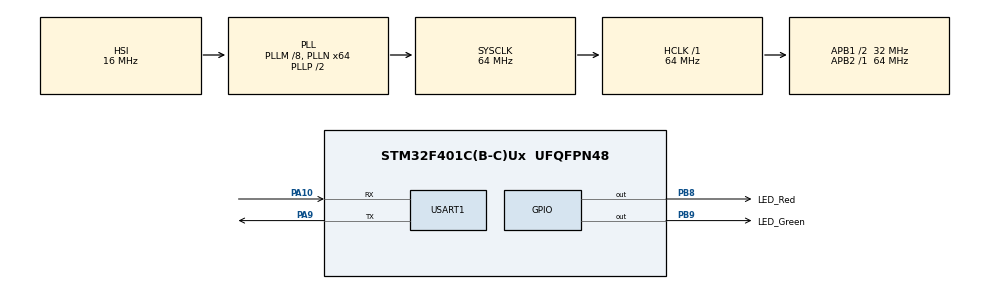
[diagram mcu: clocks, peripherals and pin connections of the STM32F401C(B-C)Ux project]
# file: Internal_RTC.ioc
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Mcu.Family=STM32F4
Mcu.Name=STM32F401C(B-C)Ux
Mcu.Package=UFQFPN48
NVIC.PriorityGroup=NVIC_PRIORITYGROUP_4
PA10.Mode=Asynchronous
PA10.Signal=USART1_RX
PA13.Mode=Serial_Wire
PA13.Signal=SYS_JTMS-SWDIO
PA14.Mode=Serial_Wire
PA14.Signal=SYS_JTCK-SWCLK
PA9.Mode=Asynchronous
PA9.Signal=USART1_TX
PB8.GPIO_Label=LED_Red
PB8.Signal=GPIO_Output
PB9.GPIO_Label=LED_Green
PB9.Signal=GPIO_Output
PC14-OSC32_IN.Mode=LSE-External-Oscillator
PC14-OSC32_IN.Signal=RCC_OSC32_IN
PC15-OSC32_OUT.Mode=LSE-External-Oscillator
PC15-OSC32_OUT.Signal=RCC_OSC32_OUT
ProjectManager.HeapSize=0x200
ProjectManager.StackSize=0x400
ProjectManager.TargetToolchain=STM32CubeIDE
RCC.48MHZClocksFreq_Value=32000000
RCC.AHBFreq_Value=64000000
RCC.APB1CLKDivider=RCC_HCLK_DIV2
RCC.APB1Freq_Value=32000000
RCC.APB1TimFreq_Value=64000000
RCC.APB2Freq_Value=64000000
RCC.APB2TimFreq_Value=64000000
RCC.CortexFreq_Value=64000000
RCC.HCLKFreq_Value=64000000
RCC.HSE_VALUE=25000000
RCC.HSI_VALUE=16000000
RCC.PLLM=8
RCC.PLLN=64
RCC.RCC_RTC_Clock_Source=RCC_RTCCLKSOURCE_LSE
RCC.RCC_RTC_Clock_SourceVirtual=RCC_RTCCLKSOURCE_LSE
RCC.SYSCLKFreq_VALUE=64000000
RCC.SYSCLKSource=RCC_SYSCLKSOURCE_PLLCLK
RCC.VCOOutputFreq_Value=128000000
USART1.VirtualMode=VM_ASYNC
VP_RTC_VS_RTC_Activate.Mode=RTC_Enabled
VP_RTC_VS_RTC_Calendar.Mode=RTC_Calendar
board=custom

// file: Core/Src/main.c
/* USER CODE BEGIN Header */
/**
  ******************************************************************************
  * @file           : main.c
  * @brief          : Main program body
  ******************************************************************************
  * @attention
  *
  * Copyright (c) 2024 STMicroelectronics.
  * All rights reserved.
  *
  * This software is licensed under terms that can be found in the LICENSE file
  * in the root directory of this software component.
  * If no LICENSE file comes with this software, it is provided AS-IS.
  *
  ******************************************************************************
  */
/* USER CODE END Header */
#include "main.h"

/* USER CODE BEGIN PD */
#define RED_LED_ON HAL_GPIO_WritePin(GPIOB, LED_Red_Pin, GPIO_PIN_SET)
#define RED_LED_OFF HAL_GPIO_WritePin(GPIOB, LED_Red_Pin, GPIO_PIN_RESET)
#define RED_LED_TOGLE HAL_GPIO_TogglePin(GPIOB, LED_Red_Pin)

#define GREEN_LED_ON HAL_GPIO_WritePin(GPIOB, LED_Green_Pin, GPIO_PIN_SET)
#define GREEN_LED_OFF HAL_GPIO_WritePin(GPIOB, LED_Green_Pin, GPIO_PIN_RESET)
#define GREEN_LED_TOGLE HAL_GPIO_TogglePin(GPIOB, LED_Green_Pin)
/* USER CODE END PD */

RTC_HandleTypeDef hrtc;

UART_HandleTypeDef huart1;

void SystemClock_Config(void);
static void MX_GPIO_Init(void);
static void MX_RTC_Init(void);
static void MX_USART1_UART_Init(void);

/* USER CODE BEGIN 0 */
// -----------------------------------------------------------------------------------------------
void led_test_blink(uint16_t times, uint16_t delay)
{
	for(int i = 0; i <= times; i++)
	{
		RED_LED_ON;
		GREEN_LED_ON;
		HAL_Delay(delay);
		RED_LED_OFF;
		GREEN_LED_OFF;
		HAL_Delay(delay);
	}
}
// -----------------------------------------------------------------------------------------------
void read_time_internal_RTC(void)
{
	 RTC_TimeTypeDef sTime;
	 RTC_DateTypeDef sDate;

	 HAL_RTC_GetTime(&hrtc, &sTime, RTC_FORMAT_BIN);
	 HAL_RTC_GetDate(&hrtc, &sDate, RTC_FORMAT_BIN);

	 uint8_t buffer = 0;
	 uint8_t time_RTC[10] = {0,};

	 char buf_uart_tx[70] = {0,};
	 memset(buf_uart_tx, 0, sizeof(buf_uart_tx));
	 sprintf(buf_uart_tx, "TIME %d:%d:%d \n\r", sTime.Hours, sTime.Minutes, sTime.Seconds);
	 HAL_UART_Transmit(&huart1, buf_uart_tx, sizeof(buf_uart_tx), 1000);
}
// -----------------------------------------------------------------------------------------------
void set_time_internal_RTC(void)
{
	RTC_TimeTypeDef sTime;
	RTC_DateTypeDef sDate;

	sTime.Hours = 0x0B;				// 11
	sTime.Minutes = 0x0C;			// 12
	sTime.Seconds = 0x0D;			// 13
	sTime.DayLightSaving = RTC_DAYLIGHTSAVING_NONE;
	sTime.StoreOperation = RTC_STOREOPERATION_RESET;
	if (HAL_RTC_SetTime(&hrtc, &sTime, RTC_FORMAT_BCD) != HAL_OK)
	{
		Error_Handler();
	}

}
// --------------------------------------------------------------------------------------
/* USER CODE END 0 */

int main(void)
{

  /* MCU Configuration--------------------------------------------------------*/

  /* Reset of all peripherals, Initializes the Flash interface and the Systick. */
  HAL_Init();

  /* Configure the system clock */
  SystemClock_Config();

  /* Initialize all configured peripherals */
  MX_GPIO_Init();
  MX_RTC_Init();
  MX_USART1_UART_Init();
  /* USER CODE BEGIN 2 */

  read_time_internal_RTC();
  HAL_Delay(1000);
  set_time_internal_RTC();
  /* USER CODE END 2 */

  /* Infinite loop */
  /* USER CODE BEGIN WHILE */
  while (1)
  {
	  read_time_internal_RTC();
	  HAL_Delay(1000);

    /* USER CODE END WHILE */

  }
}

void SystemClock_Config(void)
{
  RCC_OscInitTypeDef RCC_OscInitStruct = {0};
  RCC_ClkInitTypeDef RCC_ClkInitStruct = {0};

  /** Configure the main internal regulator output voltage
  */
  __HAL_RCC_PWR_CLK_ENABLE();
  __HAL_PWR_VOLTAGESCALING_CONFIG(PWR_REGULATOR_VOLTAGE_SCALE2);

  /** Initializes the RCC Oscillators according to the specified parameters
  * in the RCC_OscInitTypeDef structure.
  */
  RCC_OscInitStruct.OscillatorType = RCC_OSCILLATORTYPE_HSI|RCC_OSCILLATORTYPE_LSE;
  RCC_OscInitStruct.LSEState = RCC_LSE_ON;
  RCC_OscInitStruct.HSIState = RCC_HSI_ON;
  RCC_OscInitStruct.HSICalibrationValue = RCC_HSICALIBRATION_DEFAULT;
  RCC_OscInitStruct.PLL.PLLState = RCC_PLL_ON;
  RCC_OscInitStruct.PLL.PLLSource = RCC_PLLSOURCE_HSI;
  RCC_OscInitStruct.PLL.PLLM = 8;
  RCC_OscInitStruct.PLL.PLLN = 64;
  RCC_OscInitStruct.PLL.PLLP = RCC_PLLP_DIV2;
  RCC_OscInitStruct.PLL.PLLQ = 4;
  if (HAL_RCC_OscConfig(&RCC_OscInitStruct) != HAL_OK)
  {
    Error_Handler();
  }

  /** Initializes the CPU, AHB and APB buses clocks
  */
  RCC_ClkInitStruct.ClockType = RCC_CLOCKTYPE_HCLK|RCC_CLOCKTYPE_SYSCLK
                              |RCC_CLOCKTYPE_PCLK1|RCC_CLOCKTYPE_PCLK2;
  RCC_ClkInitStruct.SYSCLKSource = RCC_SYSCLKSOURCE_PLLCLK;
  RCC_ClkInitStruct.AHBCLKDivider = RCC_SYSCLK_DIV1;
  RCC_ClkInitStruct.APB1CLKDivider = RCC_HCLK_DIV2;
  RCC_ClkInitStruct.APB2CLKDivider = RCC_HCLK_DIV1;

  if (HAL_RCC_ClockConfig(&RCC_ClkInitStruct, FLASH_LATENCY_2) != HAL_OK)
  {
    Error_Handler();
  }
}

static void MX_RTC_Init(void)
{

  RTC_TimeTypeDef sTime = {0};
  RTC_DateTypeDef sDate = {0};

  /** Initialize RTC Only
  */
  hrtc.Instance = RTC;
  hrtc.Init.HourFormat = RTC_HOURFORMAT_24;
  hrtc.Init.AsynchPrediv = 127;
  hrtc.Init.SynchPrediv = 255;
  hrtc.Init.OutPut = RTC_OUTPUT_DISABLE;
  hrtc.Init.OutPutPolarity = RTC_OUTPUT_POLARITY_HIGH;
  hrtc.Init.OutPutType = RTC_OUTPUT_TYPE_OPENDRAIN;
  if (HAL_RTC_Init(&hrtc) != HAL_OK)
  {
    Error_Handler();
  }

  /** Initialize RTC and set the Time and Date
  */
  sTime.Hours = 0x0;
  sTime.Minutes = 0x0;
  sTime.Seconds = 0x0;
  sTime.DayLightSaving = RTC_DAYLIGHTSAVING_NONE;
  sTime.StoreOperation = RTC_STOREOPERATION_RESET;
  if (HAL_RTC_SetTime(&hrtc, &sTime, RTC_FORMAT_BCD) != HAL_OK)
  {
    Error_Handler();
  }
  sDate.WeekDay = RTC_WEEKDAY_MONDAY;
  sDate.Month = RTC_MONTH_JANUARY;
  sDate.Date = 0x1;
  sDate.Year = 0x0;

  if (HAL_RTC_SetDate(&hrtc, &sDate, RTC_FORMAT_BCD) != HAL_OK)
  {
    Error_Handler();
  }

}

static void MX_USART1_UART_Init(void)
{

  huart1.Instance = USART1;
  huart1.Init.BaudRate = 115200;
  huart1.Init.WordLength = UART_WORDLENGTH_8B;
  huart1.Init.StopBits = UART_STOPBITS_1;
  huart1.Init.Parity = UART_PARITY_NONE;
  huart1.Init.Mode = UART_MODE_TX_RX;
  huart1.Init.HwFlowCtl = UART_HWCONTROL_NONE;
  huart1.Init.OverSampling = UART_OVERSAMPLING_16;
  if (HAL_UART_Init(&huart1) != HAL_OK)
  {
    Error_Handler();
  }

}

static void MX_GPIO_Init(void)
{
  GPIO_InitTypeDef GPIO_InitStruct = {0};

  /* GPIO Ports Clock Enable */
  __HAL_RCC_GPIOC_CLK_ENABLE();
  __HAL_RCC_GPIOA_CLK_ENABLE();
  __HAL_RCC_GPIOB_CLK_ENABLE();

  /*Configure GPIO pin Output Level */
  HAL_GPIO_WritePin(GPIOB, LED_Red_Pin|LED_Green_Pin, GPIO_PIN_RESET);

  /*Configure GPIO pins : LED_Red_Pin LED_Green_Pin */
  GPIO_InitStruct.Pin = LED_Red_Pin|LED_Green_Pin;
  GPIO_InitStruct.Mode = GPIO_MODE_OUTPUT_PP;
  GPIO_InitStruct.Pull = GPIO_NOPULL;
  GPIO_InitStruct.Speed = GPIO_SPEED_FREQ_LOW;
  HAL_GPIO_Init(GPIOB, &GPIO_InitStruct);

}

void Error_Handler(void)
{
  __disable_irq();
  while (1)
  {
  }
}
